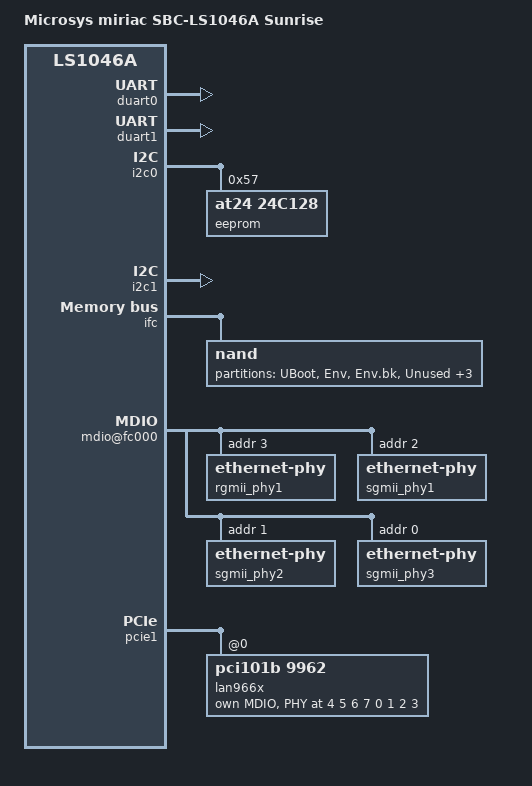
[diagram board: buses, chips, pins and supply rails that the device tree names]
// SPDX-License-Identifier: (GPL-2.0+ OR MIT)

/dts-v1/;

#include "fsl-ls1046a.dtsi"
#include "fsl-ls1046a-miriac-mpxls1046.dtsi"

#include <dt-bindings/soc/mchp,lan966x_ecpu_sr.h>

/ {
	model = "Microsys miriac SBC-LS1046A Sunrise";
	compatible = "microsys,sbc1046a", "microsys,mpxls1046a", "fsl,ls1046a";

	aliases {
		ethernet0 = &enet2;
		ethernet1 = &enet4;
		ethernet2 = &enet5;
		ethernet3 = &enet6;
		ethernet4 = &lan966x_switch;

		serial0 = &duart0;
		serial1 = &duart1;
		serial2 = &duart2;
		serial3 = &duart3;
	};

	chosen {
		stdout-path = "serial0:115200n8";
	};
};

&duart0 {
	status = "okay";
};

&duart1 {
	status = "okay";
};

&i2c0 {
	status = "okay";

	eeprom@57 {
		compatible = "at24,24c128";
		reg = <0x57>;
	};
};

&i2c1 {
	status = "okay";
};

&ifc {
	nand@0,0 {
		partition@0 {
			reg = <0x0 0x00100000>;
			label = "UBoot";
			read-only;
		};

		partition@100000 {
			reg = <0x00100000 0x00040000>;
			label = "Env";
		};

		partition@140000 {
			reg = <0x00140000 0x00040000>;
			label = "Env.bk";
		};

		partition@180000 {
			reg = <0x00180000 0x00080000>;
			label = "Unused";
		};

		partition@200000 {
			reg = <0x00200000 0x01400000>;
			label = "linux";
		};

		partition@1600000 {
			reg = <0x01600000 0x01400000>;
			label = "linux.bk";
		};

		partition@2a00000 {
			reg = <0x02a00000 0x1d600000>;
			label = "rootfs_data";
		};
	};
};

#include "fsl-ls1046-post.dtsi"

&fman0 {
	compatible = "fsl,fman", "simple-bus";

	ethernet@e4000 {
		phy-handle = <&rgmii_phy1>;
		phy-connection-type = "rgmii";
	};

	ethernet@e8000 {
		phy-handle = <&sgmii_phy1>;
		phy-connection-type = "sgmii";
	};

	ethernet@ea000 {
		phy-handle = <&sgmii_phy2>;
		phy-connection-type = "sgmii";
	};

	ethernet@f0000 {
		phy-handle = <&sgmii_phy3>;
		phy-connection-type = "sgmii";
	};

	mdio@fc000 {
		rgmii_phy1: ethernet-phy@3 {
			reg = <3>;
		};

		sgmii_phy1: ethernet-phy@2 {
			reg = <2>;
		};

		sgmii_phy2: ethernet-phy@1 {
			reg = <1>;
		};

		sgmii_phy3: ethernet-phy@0 {
			reg = <0>;
		};
	};
};

&pcie1 {
	pci@0,0 {
		#address-cells = <3>;
		#size-cells = <2>;
		reg = <0 0 0 0 0>;
		device_type = "pci";
		ranges = <0x82000000 0x0 0x40000000 0x82000000 0x0 0x40000000 0 0x40000000>;

		lan966x: switch@101b,9956 {
			compatible = "pci101b,9962";

			reg = <0x0000 0 0 0 0>;
			#address-cells = <1>;
			#size-cells = <1>;
			ranges = <0x00000000 0x82000000 0x0 0x40000000 0x4000000>,
				 <0x44000000 0x82000000 0x0 0x44000000 0x020000>;

			#interrupt-cells = <1>;
			interrupt-controller;
			interrupt-parent = <&lan966x>;

			lan966x_uio0: mscc_switch@0 {
				compatible = "microchip,uio_lan966x_irqmux";
				reg = <0x0 0x4000000>;
				status = "okay";
			};

			lan966x_uio1: mscc_sram@44000000 {
				compatible = "microchip,uio_lan966x_irqmux";
				reg = <0x44000000 0x20000>;
				status = "okay";
			};

			gpio: pinctrl@e2004070 {
				compatible = "microchip,lan966x-pinctrl";
				reg = <GCB_GPIO_ADDR GCB_GPIO_SIZE>,
				      <CHIP_TOP_GPIO_CFG_ADDR CHIP_TOP_GPIO_CFG_SIZE>;
				gpio-controller;
				#gpio-cells = <2>;
				gpio-ranges = <&gpio 0 0 78>;

				mdio_pins: mdio_pins {
					pins =  "GPIO_29";
					function = "mdio";
				};

				mdc_pins: mdc_pins {
					pins =  "GPIO_28";
					function = "mdc";
				};

				tod_pins: tod_pins {
					pins = "GPIO_36";
					function = "ptpsync_1";
				};
			};

			lan966x_mdio0: mdio@700e8 {
				#address-cells = <1>;
				#size-cells = <0>;
				compatible = "mscc,ocelot-miim";
				reg = <GCB_MIIM_0_ADDR GCB_MIIM_0_SIZE>;
				status = "okay";

				pinctrl-0 = <&mdio_pins>, <&mdc_pins>;
				pinctrl-names = "default";

				phy0: ethernet-phy@0 {
					reg = <4>;
				};
				phy1: ethernet-phy@1 {
					reg = <5>;
				};
				phy2: ethernet-phy@2 {
					reg = <6>;
				};
				phy3: ethernet-phy@3 {
					reg = <7>;
				};
				phy4: ethernet-phy@4 {
					reg = <0>;
				};
				phy5: ethernet-phy@5 {
					reg = <1>;
				};
				phy6: ethernet-phy@6 {
					reg = <2>;
				};
				phy7: ethernet-phy@7 {
					reg = <3>;
				};
			};

			dma: dma-controller@200a0400 {
				compatible = "lan966x-fdma";

				reg = <FDMA_ADDR FDMA_SIZE>;
				reg-names = "fdma";
				interrupts = <14>;
				interrupt-names = "fdma";

				#dma-cells = <1>;
				dma-channels = <8>;
				status = "okay";

				memory-region = <&fdma_memory>;
			};

			lan966x_switch: switch@0 {
				compatible = "mchp,lan966x-switch";
				reg = <ORG_0_ADDR ORG_0_SIZE>,
				      <SYS_ADDR SYS_SIZE>,
				      <QS_ADDR QS_SIZE>,
				      <QSYS_ADDR QSYS_SIZE>,

				      <ANA_ADDR ANA_SIZE>,
				      <REW_ADDR REW_SIZE>,
				      <GCB_ADDR 0x44>,
				      <PTP_ADDR PTP_SIZE>,

				      <VCAP_0_ADDR VCAP_0_SIZE>,
				      <VCAP_1_ADDR VCAP_1_SIZE>,
				      <VCAP_2_ADDR VCAP_2_SIZE>,
				      <AFI_ADDR AFI_SIZE>,
				      <MEP_ADDR MEP_SIZE>,

				      <CPU_ADDR CPU_SIZE>,
				      <SUNRISE_TOP_ADDR SUNRISE_TOP_SIZE>,
				      <FDMA_ADDR FDMA_SIZE>,

				      <DEV_0_ADDR DEV_0_SIZE>,
				      <DEV_1_ADDR DEV_1_SIZE>,
				      <DEV_2_ADDR DEV_2_SIZE>,
				      <DEV_3_ADDR DEV_3_SIZE>,
				      <DEV_4_ADDR DEV_4_SIZE>,
				      <DEV_5_ADDR DEV_5_SIZE>,
				      <DEV_6_ADDR DEV_6_SIZE>,
				      <DEV_7_ADDR DEV_7_SIZE>;

				reg-names = "org", "sys", "qs", "qsys",
					    "ana", "rew", "gcb", "ptp",
					    "es0", "s1", "s2", "afi", "mep",
					    "cpu", "sunrise_top", "fdma",
					    "port0", "port1", "port2", "port3",
					    "port4", "port5", "port6", "port7";

				interrupts = <10 11 12 9>;
				interrupt-names = "ptp-sync", "ptp", "xtr", "ana";

				pinctrl-0 = <&tod_pins>;
				pinctrl-names = "default";

				dmas = <&dma 0>, <&dma 6>;
				dma-names = "tx", "rx";

				ethernet-ports {
					#address-cells = <1>;
					#size-cells = <0>;

					port0: port@0 {
						reg = <0>;
						phy-handle = <&phy0>;
						phy-mode = "gmii";
						#address-cells = <1>;
						#size-cells = <0>;

						delay0 {
							reg = <0>;
							speed = <1000>;
							rx_delay = <0x25000>;
							tx_delay = <0x25000>;
						};

						delay1 {
							reg = <0>;
							speed = <100>;
							rx_delay = <0x8f050>;
							tx_delay = <0x8f050>;
						};

						delay2 {
							reg = <0>;
							speed = <10>;
							rx_delay = <0x4b8000>;
							tx_delay = <0x4b8000>;
						};
					};

					port1: port@1 {
						reg = <1>;
						phy-handle = <&phy1>;
						phy-mode = "gmii";
						#address-cells = <1>;
						#size-cells = <0>;

						delay0 {
							reg = <0>;
							speed = <1000>;
							rx_delay = <0x25000>;
							tx_delay = <0x25000>;
						};

						delay1 {
							reg = <0>;
							speed = <100>;
							rx_delay = <0x8f050>;
							tx_delay = <0x8f050>;
						};

						delay2 {
							reg = <0>;
							speed = <10>;
							rx_delay = <0x4b8000>;
							tx_delay = <0x4b8000>;
						};
					};

					port2: port@2 {
						reg = <2>;
						phy-handle = <&phy2>;
						phy-mode = "gmii";
						#address-cells = <1>;
						#size-cells = <0>;

						delay0 {
							reg = <0>;
							speed = <1000>;
							rx_delay = <0x25000>;
							tx_delay = <0x25000>;
						};

						delay1 {
							reg = <0>;
							speed = <100>;
							rx_delay = <0x8f050>;
							tx_delay = <0x8f050>;
						};

						delay2 {
							reg = <0>;
							speed = <10>;
							rx_delay = <0x4b8000>;
							tx_delay = <0x4b8000>;
						};
					};

					port3: port@3 {
						reg = <3>;
						phy-handle = <&phy3>;
						phy-mode = "gmii";
						#address-cells = <1>;
						#size-cells = <0>;

						delay0 {
							reg = <0>;
							speed = <1000>;
							rx_delay = <0x25000>;
							tx_delay = <0x25000>;
						};

						delay1 {
							reg = <0>;
							speed = <100>;
							rx_delay = <0x8f050>;
							tx_delay = <0x8f050>;
						};

						delay2 {
							reg = <0>;
							speed = <10>;
							rx_delay = <0x4b8000>;
							tx_delay = <0x4b8000>;
						};
					};

					port4: port@4 {
						reg = <4>;
						phy-handle = <&phy4>;
						phy-mode = "qsgmii";
						#address-cells = <1>;
						#size-cells = <0>;

						delay0 {
							reg = <0>;
							speed = <1000>;
							rx_delay = <0x25000>;
							tx_delay = <0x25000>;
						};

						delay1 {
							reg = <0>;
							speed = <100>;
							rx_delay = <0x8f050>;
							tx_delay = <0x8f050>;
						};

						delay2 {
							reg = <0>;
							speed = <10>;
							rx_delay = <0x4b8000>;
							tx_delay = <0x4b8000>;
						};
					};

					port5: port@5 {
						reg = <5>;
						phy-handle = <&phy5>;
						phy-mode = "qsgmii";
						#address-cells = <1>;
						#size-cells = <0>;

						delay0 {
							reg = <0>;
							speed = <1000>;
							rx_delay = <0x25000>;
							tx_delay = <0x25000>;
						};

						delay1 {
							reg = <0>;
							speed = <100>;
							rx_delay = <0x8f050>;
							tx_delay = <0x8f050>;
						};

						delay2 {
							reg = <0>;
							speed = <10>;
							rx_delay = <0x4b8000>;
							tx_delay = <0x4b8000>;
						};
					};

					port6: port@6 {
						reg = <6>;
						phy-handle = <&phy6>;
						phy-mode = "qsgmii";
						#address-cells = <1>;
						#size-cells = <0>;

						delay0 {
							reg = <0>;
							speed = <1000>;
							rx_delay = <0x25000>;
							tx_delay = <0x25000>;
						};

						delay1 {
							reg = <0>;
							speed = <100>;
							rx_delay = <0x8f050>;
							tx_delay = <0x8f050>;
						};

						delay2 {
							reg = <0>;
							speed = <10>;
							rx_delay = <0x4b8000>;
							tx_delay = <0x4b8000>;
						};
					};

					port7: port@7 {
						reg = <7>;
						phy-handle = <&phy7>;
						phy-mode = "qsgmii";
						#address-cells = <1>;
						#size-cells = <0>;

						delay0 {
							reg = <0>;
							speed = <1000>;
							rx_delay = <0x25000>;
							tx_delay = <0x25000>;
						};

						delay1 {
							reg = <0>;
							speed = <100>;
							rx_delay = <0x8f050>;
							tx_delay = <0x8f050>;
						};

						delay2 {
							reg = <0>;
							speed = <10>;
							rx_delay = <0x4b8000>;
							tx_delay = <0x4b8000>;
						};
					};
				};
			};
		};
	};
};
